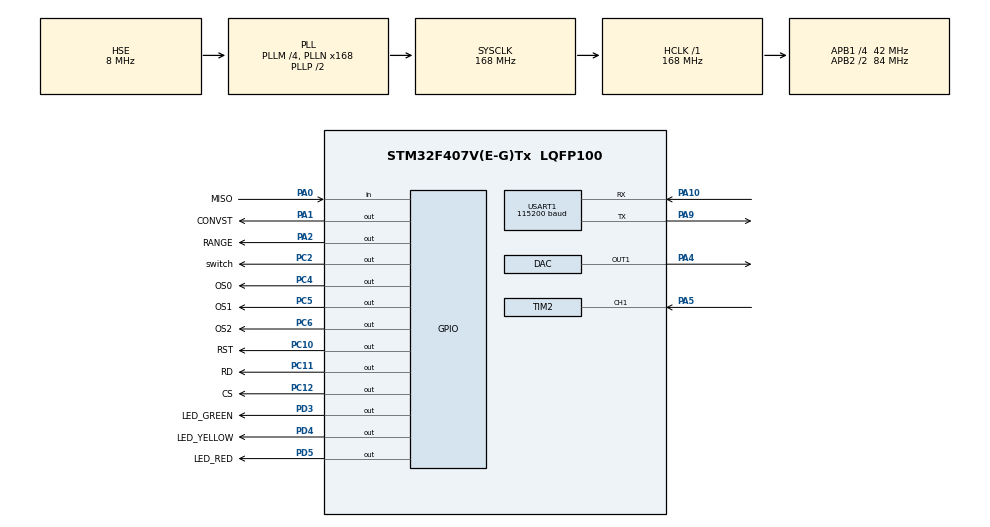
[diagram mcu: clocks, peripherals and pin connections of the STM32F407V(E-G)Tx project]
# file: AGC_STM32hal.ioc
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DAC.DAC_OutputBuffer=DAC_OUTPUTBUFFER_ENABLE
Mcu.Family=STM32F4
Mcu.Name=STM32F407V(E-G)Tx
Mcu.Package=LQFP100
NVIC.PriorityGroup=NVIC_PRIORITYGROUP_4
NVIC.TIM4_IRQn=true\:0\:0\:false\:false\:true\:true\:true\:true
NVIC.USART1_IRQn=true\:0\:0\:false\:false\:true\:true\:true\:true
PA0-WKUP.GPIO_Label=MISO
PA0-WKUP.Signal=GPIO_Input
PA1.GPIO_Label=CONVST
PA1.GPIO_Speed=GPIO_SPEED_FREQ_VERY_HIGH
PA1.Signal=GPIO_Output
PA10.Mode=Asynchronous
PA10.Signal=USART1_RX
PA13.Mode=Serial_Wire
PA13.Signal=SYS_JTMS-SWDIO
PA14.Mode=Serial_Wire
PA14.Signal=SYS_JTCK-SWCLK
PA2.GPIO_Label=RANGE
PA2.GPIO_Speed=GPIO_SPEED_FREQ_VERY_HIGH
PA2.Signal=GPIO_Output
PA4.Signal=COMP_DAC1_group
PA5.Signal=S_TIM2_CH1_ETR
PA9.Mode=Asynchronous
PA9.Signal=USART1_TX
PC10.GPIO_Label=RST
PC10.GPIO_Speed=GPIO_SPEED_FREQ_HIGH
PC10.Signal=GPIO_Output
PC11.GPIO_Label=RD
PC11.GPIO_Speed=GPIO_SPEED_FREQ_HIGH
PC11.Signal=GPIO_Output
PC12.GPIO_Label=CS
PC12.GPIO_Speed=GPIO_SPEED_FREQ_HIGH
PC12.Signal=GPIO_Output
PC2.GPIO_Label=switch
PC2.Signal=GPIO_Output
PC4.GPIO_Label=OS0
PC4.GPIO_Speed=GPIO_SPEED_FREQ_HIGH
PC4.Signal=GPIO_Output
PC5.GPIO_Label=OS1
PC5.GPIO_Speed=GPIO_SPEED_FREQ_HIGH
PC5.Signal=GPIO_Output
PC6.GPIO_Label=OS2
PC6.GPIO_Speed=GPIO_SPEED_FREQ_HIGH
PC6.Signal=GPIO_Output
PD3.GPIO_Label=LED_GREEN
PD3.Signal=GPIO_Output
PD4.GPIO_Label=LED_YELLOW
PD4.Signal=GPIO_Output
PD5.GPIO_Label=LED_RED
PD5.Signal=GPIO_Output
PH0-OSC_IN.Mode=HSE-External-Oscillator
PH0-OSC_IN.Signal=RCC_OSC_IN
PH1-OSC_OUT.Mode=HSE-External-Oscillator
PH1-OSC_OUT.Signal=RCC_OSC_OUT
ProjectManager.HeapSize=0x200
ProjectManager.StackSize=0x400
ProjectManager.TargetToolchain=CMake
RCC.48MHZClocksFreq_Value=84000000
RCC.AHBFreq_Value=168000000
RCC.APB1CLKDivider=RCC_HCLK_DIV4
RCC.APB1Freq_Value=42000000
RCC.APB1TimFreq_Value=84000000
RCC.APB2CLKDivider=RCC_HCLK_DIV2
RCC.APB2Freq_Value=84000000
RCC.APB2TimFreq_Value=168000000
RCC.CortexFreq_Value=168000000
RCC.FLatency=FLASH_LATENCY_5
RCC.HCLKFreq_Value=168000000
RCC.HSE_VALUE=8000000
RCC.HSI_VALUE=16000000
RCC.LSE_VALUE=32768
RCC.PLLM=4
RCC.PLLN=168
RCC.PLLSourceVirtual=RCC_PLLSOURCE_HSE
RCC.SYSCLKFreq_VALUE=168000000
RCC.SYSCLKSource=RCC_SYSCLKSOURCE_PLLCLK
RCC.VCOOutputFreq_Value=336000000
SH.COMP_DAC1_group.0=DAC_OUT1,DAC_OUT1
SH.S_TIM2_CH1_ETR.0=TIM2_CH1,Input_Capture1_from_TI1
SH.S_TIM2_CH1_ETR.1=TIM2_CH1,TriggerSource_TI1FP1
STMicroelectronics.X-CUBE-ALGOBUILD.1.4.0.LibraryCcDSPOoLibraryJjDSPOoLibrary=true
TIM2.Channel-Input_Capture1_from_TI1=TIM_CHANNEL_1
TIM2.Prescaler=2-1
TIM4.AutoReloadPreload=TIM_AUTORELOAD_PRELOAD_ENABLE
TIM4.ClockDivision=TIM_CLOCKDIVISION_DIV1
TIM4.CounterMode=TIM_COUNTERMODE_UP
TIM4.Period=2000
TIM4.Prescaler=42-1
TIM4.TIM_MasterOutputTrigger=TIM_TRGO_RESET
TIM4.TIM_MasterSlaveMode=TIM_MASTERSLAVEMODE_DISABLE
USART1.BaudRate=115200
USART1.Mode=MODE_TX_RX
USART1.OverSampling=UART_OVERSAMPLING_16
USART1.Parity=PARITY_NONE
USART1.StopBits=STOPBITS_1
USART1.VirtualMode=VM_ASYNC
USART1.WordLength=WORDLENGTH_8B
VP_STMicroelectronics.X-CUBE-ALGOBUILD_VS_DSPOoLibraryJjLibrary_1.4.0_1.4.0.Mode=DSPOoLibraryJjLibrary
VP_TIM2_VS_ControllerModeReset.Mode=Reset Mode
VP_TIM4_VS_ClockSourceINT.Mode=Internal
board=custom

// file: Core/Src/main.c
/* USER CODE BEGIN Header */
/**
  ******************************************************************************
  * @file           : main.c
  * @brief          : Main program body
  ******************************************************************************
  * @attention
  *
  * Copyright (c) 2024 STMicroelectronics.
  * All rights reserved.
  *
  * This software is licensed under terms that can be found in the LICENSE file
  * in the root directory of this software component.
  * If no LICENSE file comes with this software, it is provided AS-IS.
  ******************************************************************************
  */

/* USER CODE END Header */
#include "main.h"
#include "dac.h"
#include "tim.h"
#include "usart.h"
#include "gpio.h"

/* USER CODE BEGIN Includes */
#include "ad7606.h"
#include "stdio.h"
#include "AGCcontroller.h"
/* USER CODE END Includes */

void SystemClock_Config(void);

int main(void)
{

  /* MCU Configuration--------------------------------------------------------*/

  /* Reset of all peripherals, Initializes the Flash interface and the Systick. */
  HAL_Init();

  /* Configure the system clock */
  SystemClock_Config();

  /* Initialize all configured peripherals */
  MX_GPIO_Init();
  MX_TIM4_Init();
  MX_USART1_UART_Init();
  MX_DAC_Init();
  MX_TIM2_Init();
  /* USER CODE BEGIN 2 */

  HAL_TIM_IC_Start(&htim2, TIM_CHANNEL_1);  // 测周法的输入捕获定时器

	ad7606_init ();
	AD_RANGE_5V();
  ad7606_StartRecord();

  DACvalueSet_mv(643);
  printf("\nsetup\n");
  HAL_Delay(500);
  HAL_GPIO_WritePin(LED_GREEN_GPIO_Port,LED_GREEN_Pin, GPIO_PIN_SET); // 点亮LED
  /* USER CODE END 2 */

  /* Infinite loop */
  /* USER CODE BEGIN WHILE */
  while (1)
  {
    //ADC1输入，ADC2输出

		// printf("%f,",(10000*(float)((short)g_tAD.usBuf[0])/32768/2)); // 通道1
    // printf("%f,",(10000*(float)((short)g_tAD.usBuf[1])/32768/2)); // 通道2

    // printf("%lf,",(42000000 / (double)(HAL_TIM_ReadCapturedValue(&htim2,TIM_CHANNEL_1) + 1))); // 84MHz分频(2-1)次，标准频率420MHz
    // printf("%d\n",dac_value);

    SCREEN_CURRENT_OUTPUT(currentVoltage);
    SCREEN_TARGET_OUTPUT(targetVoltage);
    SCREEN_INPUT_FREQ((42000000 / (double)(HAL_TIM_ReadCapturedValue(&htim2,TIM_CHANNEL_1) + 1)));
    SCREEN_INPUT_VOLTAGE(input_voltage);
    AGCmove2target(targetVoltage);
    HAL_Delay(20);//注意延时不要太久
    /* USER CODE END WHILE */

  }
}

void SystemClock_Config(void)
{
  RCC_OscInitTypeDef RCC_OscInitStruct = {0};
  RCC_ClkInitTypeDef RCC_ClkInitStruct = {0};

  /** Configure the main internal regulator output voltage
  */
  __HAL_RCC_PWR_CLK_ENABLE();
  __HAL_PWR_VOLTAGESCALING_CONFIG(PWR_REGULATOR_VOLTAGE_SCALE1);

  /** Initializes the RCC Oscillators according to the specified parameters
  * in the RCC_OscInitTypeDef structure.
  */
  RCC_OscInitStruct.OscillatorType = RCC_OSCILLATORTYPE_HSE;
  RCC_OscInitStruct.HSEState = RCC_HSE_ON;
  RCC_OscInitStruct.PLL.PLLState = RCC_PLL_ON;
  RCC_OscInitStruct.PLL.PLLSource = RCC_PLLSOURCE_HSE;
  RCC_OscInitStruct.PLL.PLLM = 4;
  RCC_OscInitStruct.PLL.PLLN = 168;
  RCC_OscInitStruct.PLL.PLLP = RCC_PLLP_DIV2;
  RCC_OscInitStruct.PLL.PLLQ = 4;
  if (HAL_RCC_OscConfig(&RCC_OscInitStruct) != HAL_OK)
  {
    Error_Handler();
  }

  /** Initializes the CPU, AHB and APB buses clocks
  */
  RCC_ClkInitStruct.ClockType = RCC_CLOCKTYPE_HCLK|RCC_CLOCKTYPE_SYSCLK
                              |RCC_CLOCKTYPE_PCLK1|RCC_CLOCKTYPE_PCLK2;
  RCC_ClkInitStruct.SYSCLKSource = RCC_SYSCLKSOURCE_PLLCLK;
  RCC_ClkInitStruct.AHBCLKDivider = RCC_SYSCLK_DIV1;
  RCC_ClkInitStruct.APB1CLKDivider = RCC_HCLK_DIV4;
  RCC_ClkInitStruct.APB2CLKDivider = RCC_HCLK_DIV2;

  if (HAL_RCC_ClockConfig(&RCC_ClkInitStruct, FLASH_LATENCY_5) != HAL_OK)
  {
    Error_Handler();
  }
}

/* USER CODE BEGIN 4 */
void HAL_TIM_PeriodElapsedCallback(TIM_HandleTypeDef  *htim)
{
    if (htim == (&htim4))                    //TIM4中断后读取adc数值
    {
        ad7606_IRQSrc();
    }
}

void HAL_UART_RxCpltCallback(UART_HandleTypeDef *huart){
    if (huart == (&huart1)){
      switch (r_data)
      {
        case 's':
          printf("wwwdddsss\n");
          break;

        case 'u': //粗调+200
          targetVoltage = targetVoltage + 200;
          printf("new target:%f mv\n", targetVoltage);
          break;

        case 'd': //粗调-200
          targetVoltage = targetVoltage - 200;
          printf("new target:%f mv\n", targetVoltage);
          break;

        case 'v': //细调+20
          targetVoltage = targetVoltage + 20;
          printf("new target:%f mv\n", targetVoltage);
          break;

        case 'e': //细调-20
          targetVoltage = targetVoltage - 20;
          printf("new target:%f mv\n", targetVoltage);
          break;
        default:
          printf("?\n");
          break;
      }

    }
    HAL_UART_Receive_IT(&huart1, &r_data, 1);
}
/* USER CODE END 4 */

void Error_Handler(void)
{
  __disable_irq();
  while (1)
  {
  }
}
